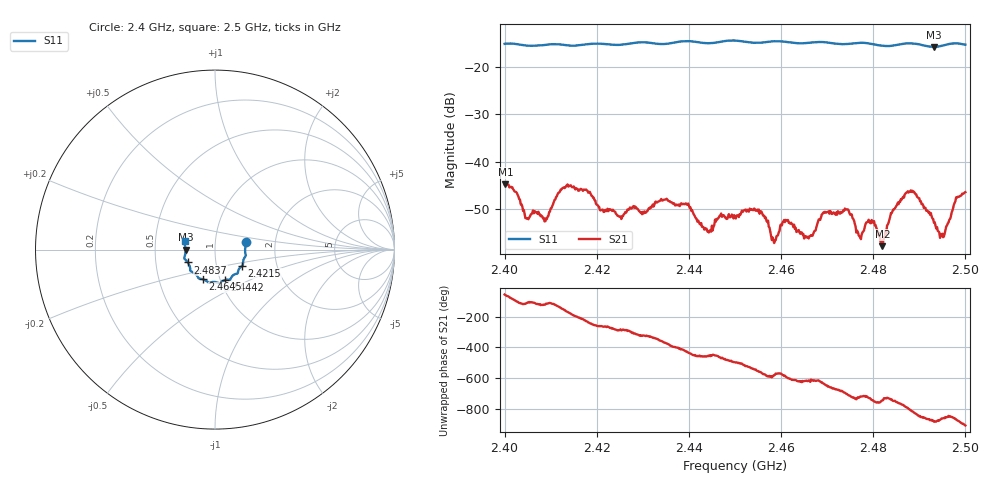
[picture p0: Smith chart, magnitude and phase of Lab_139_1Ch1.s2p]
# Hz S RI R 50
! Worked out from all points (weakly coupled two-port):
!   601 points, 2.4 GHz to 2.5 GHz, reference 50 ohm
!   highest |S21| = -44.80 dB at 2.4002 GHz (marker M1); lowest = -57.9 dB at 2.482 GHz (marker M2)
!   lowest |S11| = -15.7 dB at 2.4932 GHz (marker M3), VSWR 1.39, Z = 35.9 - j0.065 ohm
!   |S11| at or under -10 dB: start of sweep to end of sweep
!   S12 and S22 are empty: the file has one direction only
!   S11 on the Smith chart (normalised r, x): 2.4 GHz: 1.41, +0.12; 2.4215 GHz: 1.33, -0.25; 2.4442 GHz: 1.05, -0.37; 2.4645 GHz: 0.83, -0.29; 2.4837 GHz: 0.73, -0.11; 2.5 GHz: 0.71, +0.07
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2.4e9  0.1713 0.0403  0.00302 -0.00484  0 0  0 0
2.400167e9  0.1721 0.0399  0.00276 -0.00505  0 0  0 0
2.405e9  0.1682 0.0094  -0.000853 -0.00237  0 0  0 0
2.416667e9  0.1566 -0.0699  -0.00419 0.00292  0 0  0 0
2.4215e9  0.1514 -0.0896  -0.0002 0.00292  0 0  0 0
2.433333e9  0.1083 -0.1384  0.00368 0.000795  0 0  0 0
2.4395e9  0.084 -0.1683  0.00143 -0.00322  0 0  0 0
2.444167e9  0.0566 -0.1695  -0.000114 -0.00184  0 0  0 0
2.45e9  0.025 -0.1892  -0.00184 -0.00178  0 0  0 0
2.458333e9  -0.0299 -0.1851  -0.00104 0.00105  0 0  0 0
2.4645e9  -0.0658 -0.1659  -0.000178 0.00176  0 0  0 0
2.466667e9  -0.0826 -0.1621  -0.000524 0.00155  0 0  0 0
2.474e9  -0.1148 -0.1323  0.00284 0.00128  0 0  0 0
2.476833e9  -0.1342 -0.1201  0.00166 -0.000128  0 0  0 0
2.4795e9  -0.1382 -0.1095  0.00215 -0.000558  0 0  0 0
2.482e9  -0.1422 -0.0898  0.00117 -0.000485  0 0  0 0
2.483333e9  -0.149 -0.0751  0.00222 -0.000369  0 0  0 0
2.483667e9  -0.1511 -0.0718  0.00253 -0.000595  0 0  0 0
2.488333e9  -0.1714 -0.0471  -0.00011 -0.00476  0 0  0 0
2.493167e9  -0.1636 -0.00088  -0.00212 -0.000767  0 0  0 0
2.495e9  -0.1671 0.0209  -0.00131 -0.00113  0 0  0 0
2.5e9  -0.165 0.0504  -0.00473 0.000355  0 0  0 0
